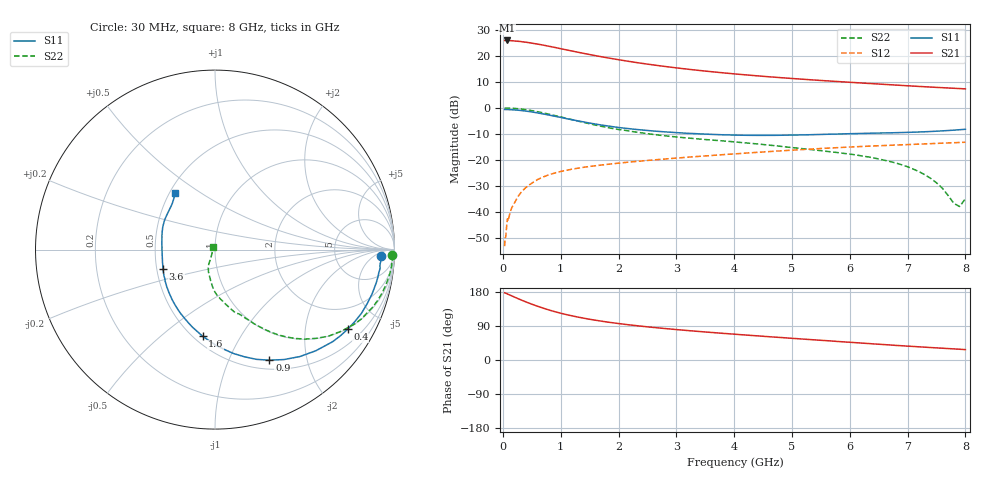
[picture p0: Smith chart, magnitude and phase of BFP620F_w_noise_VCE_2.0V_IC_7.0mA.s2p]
! Infineon Technologies  Discrete & RF Semiconductors
! BFP620F
! VCE =  2.0 V,  IC =  7.0 mA
! Common Emitter S-Parameters:  Dec 2014
# GHz  S  MA  R  50
!  f  S11  S21  S12  S22
! GHz  MAG  ANG  MAG  ANG  MAG  ANG  MAG  ANG
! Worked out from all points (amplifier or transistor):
!   95 points, 30 MHz to 8 GHz, reference 50 ohm
!   highest |S21| = 25.8 dB at 70 MHz (marker M1)
!   |S21| within 3 dB of that: start of sweep to 966.3 MHz
!   unconditionally stable (mu >= 1): 4.507 GHz to end of sweep
!   at 300 MHz: K = 0.14, MSG = 29.2 dB, |S12| = -32.9 dB
!   at 3.3 GHz: K = 0.91, MSG = 16.7 dB, |S12| = -18.8 dB
!   at 8 GHz: K = 1.10, MAG = 8.3 dB, |S12| = -13.2 dB
!   lowest NFmin = 0.55 dB at 450 MHz
!   S11 on the Smith chart (normalised r, x): 30 MHz: 21, -11; 400 MHz: 0.97, -3.35; 900 MHz: 0.61, -1.42; 1.6 GHz: 0.55, -0.70; 3.6 GHz: 0.54, -0.13; 8 GHz: 0.53, +0.40
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0.03  0.9265 -2.3  19.59 177.4  0.0022 73.3  0.9886 -1.7
0.07  0.9233 -5.6  19.61 174.9  0.0062 73.0  0.9875 -4.0
0.2  0.9093 -15.8  19.18 166.1  0.0148 80.3  0.9718 -11.8
0.3  0.8899 -23.5  18.73 159.5  0.0227 76.5  0.9493 -17.4
0.4  0.8618 -31.0  18.15 153.2  0.0296 73.5  0.9163 -22.9
0.5  0.8322 -38.1  17.4 147.4  0.0356 69.9  0.8811 -28.1
0.6  0.7957 -45.1  16.69 141.8  0.0418 66.9  0.8383 -32.8
0.7  0.7605 -51.6  15.93 136.7  0.0471 64.2  0.7966 -37.2
0.9  0.6868 -63.8  14.39 127.5  0.056 59.2  0.7086 -44.7
1.1  0.6183 -74.8  12.93 119.7  0.0631 55.6  0.6263 -50.9
1.4  0.5343 -89.3  11.06 110.3  0.072 51.8  0.5231 -58.1
1.6  0.4872 -98.2  10.03 105.0  0.077 50.1  0.4659 -62.3
1.8  0.4497 -106.3  9.134 100.3  0.0817 48.7  0.4198 -65.9
2.1  0.406 -117.7  8.029 94.3  0.0886 47.1  0.3706 -72.1
2.7  0.3513 -136.8  6.426 84.5  0.1016 44.9  0.2983 -80.4
3.6  0.3086 -159.8  4.934 72.8  0.1209 42.3  0.2403 -89.5
4.1  0.2974 -170.6  4.376 67.0  0.1321 40.7  0.2162 -92.6
5.4  0.3055 165.3  3.403 53.0  0.1626 35.4  0.1547 -101.2
6.7  0.3303 144.5  2.768 39.6  0.1903 28.7  0.0925 -112.5
7.4  0.3501 132.9  2.497 32.9  0.2046 25.3  0.044 -119.0
7.9  0.3789 126.4  2.336 28.4  0.2155 22.6  0.0127 157.9
8  0.3863 125.3  2.307 27.4  0.2178 22.0  0.0179 123.9
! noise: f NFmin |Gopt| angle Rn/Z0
0.45  0.55  0.38  9  0.25
0.9  0.61  0.35  19  0.22
1.5  0.68  0.32  24  0.19
1.8  0.71  0.3  27  0.18
1.9  0.72  0.25  40  0.19
2.4  0.77  0.22  56  0.17
3.5  0.88  0.21  75  0.14
5.5  1.08  0.14  162  0.12
6  1.12  0.11  185  0.21
